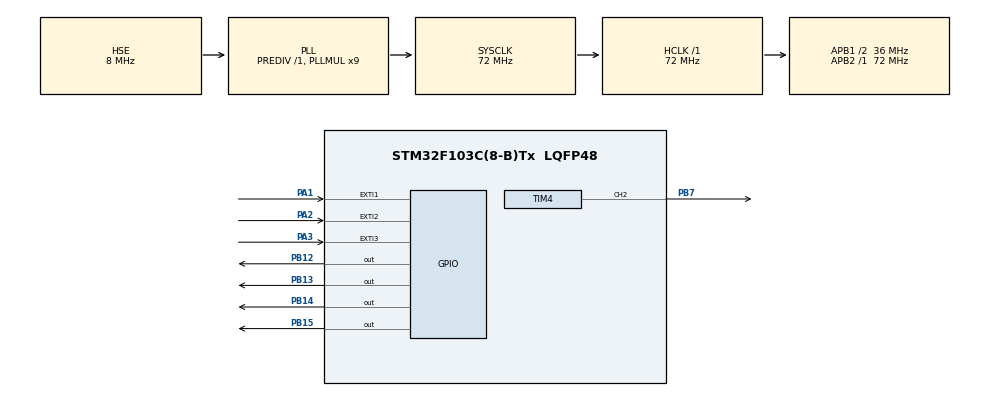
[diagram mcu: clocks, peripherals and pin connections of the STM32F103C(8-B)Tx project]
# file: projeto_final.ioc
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Mcu.Family=STM32F1
Mcu.Name=STM32F103C(8-B)Tx
Mcu.Package=LQFP48
NVIC.EXTI1_IRQn=true\:0\:0\:false\:true\:true\:1\:true\:true
NVIC.EXTI2_IRQn=true\:0\:0\:false\:false\:true\:true\:true
NVIC.EXTI3_IRQn=true\:0\:0\:false\:false\:true\:true\:true
NVIC.PriorityGroup=NVIC_PRIORITYGROUP_4
PA1.GPIO_ModeDefaultEXTI=GPIO_MODE_IT_FALLING
PA1.GPIO_PuPd=GPIO_PULLUP
PA1.Signal=GPXTI1
PA13.Mode=Serial_Wire
PA13.Signal=SYS_JTMS-SWDIO
PA14.Mode=Serial_Wire
PA14.Signal=SYS_JTCK-SWCLK
PA2.GPIO_ModeDefaultEXTI=GPIO_MODE_IT_FALLING
PA2.GPIO_PuPd=GPIO_PULLUP
PA2.Signal=GPXTI2
PA3.GPIO_ModeDefaultEXTI=GPIO_MODE_IT_FALLING
PA3.GPIO_PuPd=GPIO_PULLUP
PA3.Signal=GPXTI3
PB12.Signal=GPIO_Output
PB13.Signal=GPIO_Output
PB14.Signal=GPIO_Output
PB15.Signal=GPIO_Output
PB7.Signal=S_TIM4_CH2
PD0-OSC_IN.Mode=HSE-External-Oscillator
PD0-OSC_IN.Signal=RCC_OSC_IN
PD1-OSC_OUT.Mode=HSE-External-Oscillator
PD1-OSC_OUT.Signal=RCC_OSC_OUT
ProjectManager.HeapSize=0x200
ProjectManager.StackSize=0x400
ProjectManager.TargetToolchain=STM32CubeIDE
RCC.AHBFreq_Value=72000000
RCC.APB1CLKDivider=RCC_HCLK_DIV2
RCC.APB1Freq_Value=36000000
RCC.APB1TimFreq_Value=72000000
RCC.APB2Freq_Value=72000000
RCC.APB2TimFreq_Value=72000000
RCC.HCLKFreq_Value=72000000
RCC.PLLMUL=RCC_PLL_MUL9
RCC.PLLSourceVirtual=RCC_PLLSOURCE_HSE
RCC.SYSCLKFreq_VALUE=72000000
RCC.SYSCLKSource=RCC_SYSCLKSOURCE_PLLCLK
RCC.USBFreq_Value=72000000
SH.S_TIM4_CH2.0=TIM4_CH2,PWM Generation2 CH2
TIM4.Channel-PWM\ Generation2\ CH2=TIM_CHANNEL_2
VP_TIM4_VS_ClockSourceINT.Mode=Internal
board=custom

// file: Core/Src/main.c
/* USER CODE BEGIN Header */
/**
 ******************************************************************************
 * @file           : main.c
 * @brief          : Main program body
 ******************************************************************************
 * @attention
 *
 * <h2><center>&copy; Copyright (c) 2021 STMicroelectronics.
 * All rights reserved.</center></h2>
 *
 * This software component is licensed by ST under BSD 3-Clause license,
 * the "License"; You may not use this file except in compliance with the
 * License. You may obtain a copy of the License at:
 *                        opensource.org/licenses/BSD-3-Clause
 *
 ******************************************************************************
 */
/* USER CODE END Header */
#include "main.h"

/* USER CODE BEGIN PD */

#define PR 80
#define DT_D1 200                      // delay do LED D1
#define DT_D2 300                      // delay do LED D2
#define DT_D3 400                      // delay do LED D3
#define DT_D4 500                      // delay do LED D4
#define DT_ALL 500                      // delay do LED D4
#define PER_PWM 3000                   // tempo do ciclo (ms) do led PB7
#define PWM_ARR 200                    // resolução (num steps) do PWM
/* USER CODE END PD */

TIM_HandleTypeDef htim4;

/* USER CODE BEGIN PV */
volatile uint32_t mn_led1 = 0;
volatile uint32_t mn_led2 = 0;
volatile uint32_t mn_led3 = 0;
volatile uint32_t mn_led4 = 0;
volatile uint32_t mn_dt_PWM;
volatile uint32_t mn_tin_CRON = 0;
volatile uint32_t lpa1 = 0;
volatile uint32_t lpa2 = 0;
volatile uint32_t lpa3 = 0; // variável utilizada para simular efeito de borda causado por botão do Monitor
//volatile uint32_t clear_signal = 0; // variável utilizada para simular efeito de borda causado por botão do Monitor

/* USER CODE END PV */

void SystemClock_Config(void);
static void MX_GPIO_Init(void);
static void MX_TIM4_Init(void);
static void MX_NVIC_Init(void);
/* USER CODE BEGIN PFP */
int get_modo_oper(void);
void set_modo_oper(void);
/* USER CODE END PFP */

int main(void) {

	/* MCU Configuration--------------------------------------------------------*/

	/* Reset of all peripherals, Initializes the Flash interface and the Systick. */
	HAL_Init();

	/* Configure the system clock */
	SystemClock_Config();

	/* Initialize all configured peripherals */
	MX_GPIO_Init();
	MX_TIM4_Init();

	/* Initialize interrupts */
	MX_NVIC_Init();
	/* USER CODE BEGIN 2 */

	// garantir que PC13 começa desligado
	HAL_GPIO_WritePin(GPIOC, GPIO_PIN_13, GPIO_PIN_SET);

	// para iniciar vars de controle para máquinas de estados dos leds
	static enum {
		INI_D1, LIG_D1, DSLG_D1} sttD1 = INI_D1; // var estados de D1
	static enum {
		INI_D2, LIG_D2, DSLG_D2} sttD2 = INI_D2; // var estados de D2
	static enum {
		INI_D3, LIG_D3, DSLG_D3} sttD3 = INI_D3; // var estados de D3
	static enum {
		INI_D4, LIG_D4, DSLG_D4} sttD4 = INI_D4; // var estados de D4
	static enum {
		INI_ALL, LIG_ALL, DSLG_ALL} sttALL = INI_ALL; // var estados dos 4 LEDs piscando juntos
	// maquina de estados das interrupções geradas por software
	static enum {
		INI_PA1, LIG_PA1, DSLG_PA1} sttPA1 = INI_PA1; // var estados de PA1
	static enum {
		INI_PA2, LIG_PA2, DSLG_PA2} sttPA2 = INI_PA2; // var estados de PA2
    static enum {
    	INI_PA3, LIG_PA3, DSLG_PA3} sttPA3=INI_PA3;   // var estados de PA3

	static enum {
		INI_PWM, INC_PWM, DEC_PWM} sttGAUGE = INI_PWM; // var de estados do gauge PWM
	static enum {
		INI_CRON, INC_CRON, PAUSE_CRON} sttCRON = INI_CRON; // var estados do cronometro

	// para controlar vars tempos de entrada na rotina ON/OFF de cada LED
	uint32_t tin_D1 = 0, tin_D2 = 0, tin_D3 = 0, tin_D4 = 0, tin_PWM = 0;
	uint32_t tin_CRON = 0;
	uint32_t dt_PA1 = PR, dt_PA2 = PR,  dt_PA3 = PR; // proximos dt p/ cada PA

	uint32_t tin_PA1 = 0, tin_PA2 = 0, tin_PA3 = 0; // dts das interrupções por software
	mn_tin_CRON = 0;

	int dt_PWM = PER_PWM / (2 * PWM_ARR);   // calc delta tempo p/ PB7

	int modo = get_modo_oper();          // inicia modo como 0
	int start_status = get_cron_start_status();
	int clear_signal = get_cron_clear_status();
	uint16_t dc_PWM = 0;

	// inicializar o PWM do timer 4 ch 2 zerado
	HAL_TIM_PWM_Start(&htim4, TIM_CHANNEL_2); // inicializa PWM no T4C2
	TIM4->CCR2 = dc_PWM;                // inicia comparador PWM c/ 0

	// estrutura de dados para programar pedido de interrupção por software
	EXTI_HandleTypeDef hexti_1 = { };
	hexti_1.Line = EXTI_LINE_1;
	EXTI_HandleTypeDef hexti_2 = { };
	hexti_2.Line = EXTI_LINE_2;
    EXTI_HandleTypeDef hexti_3 = {};
    hexti_3.Line = EXTI_LINE_3;

	/* USER CODE END 2 */

	/* Infinite loop */
	while (1) {

		/* USER CODE BEGIN 3 */
		modo = get_modo_oper();

		if (modo == 0) {
			// Caso pisca independentes:
			// Cada LED piscando com um periodo especifico DT_Di, i={1,2,3,4}

			// controle do estado do LED D1
			switch (sttD1) {
			case INI_D1:                 // vai iniciar a máquina de estado
				tin_D1 = HAL_GetTick();    // tempo inicial que iniciou a tarefa
				sttD1 = LIG_D1;            // prox estado da máquina
				HAL_GPIO_WritePin(GPIOB, GPIO_PIN_15, GPIO_PIN_SET); // desl o LED
				mn_led1 = HAL_GPIO_ReadPin(GPIOB, GPIO_PIN_15);
				break;
			case LIG_D1:                 // estado para ligar o LED
				if ((HAL_GetTick() - tin_D1) > DT_D1) // se HAL_GetTick()-tin_D1 > DT_D1
				{
					tin_D1 = HAL_GetTick(); // guarda tempo p/ prox mudança estado
					sttD1 = DSLG_D1;         // muda o prox estado da máquina
					HAL_GPIO_WritePin(GPIOB, GPIO_PIN_15, GPIO_PIN_RESET); // ligaLED
					mn_led1 = HAL_GPIO_ReadPin(GPIOB, GPIO_PIN_15);
				}
				break;
			case DSLG_D1:                // estado para desligar o LED
				if ((HAL_GetTick() - tin_D1) > DT_D1) // se HAL_GetTick()-tin_D1 > DT_D1
				{
					tin_D1 = HAL_GetTick(); // guarda tempo p/ prox mudança estado
					sttD1 = LIG_D1;          // muda o prox estado da máquina
					HAL_GPIO_WritePin(GPIOB, GPIO_PIN_15, GPIO_PIN_SET); // desl LED			}
					mn_led1 = HAL_GPIO_ReadPin(GPIOB, GPIO_PIN_15);
				}
				break;
			};

			// controle do estado do LED D2
			switch (sttD2) {
			case INI_D2:                 // vai iniciar a máquina de estado
				tin_D2 = HAL_GetTick();    // tempo inicial que iniciou a tarefa
				sttD2 = LIG_D2;            // prox estado da máquina
				HAL_GPIO_WritePin(GPIOB, GPIO_PIN_14, GPIO_PIN_SET); // desl o LED
				mn_led2 = HAL_GPIO_ReadPin(GPIOB, GPIO_PIN_14);
				break;
			case LIG_D2:                 // estado para ligar o LED
				if ((HAL_GetTick() - tin_D2) > DT_D2) // se HAL_GetTick()-tin_D2 > DT_D2
				{
					tin_D2 = HAL_GetTick(); // guarda tempo p/ prox mudança estado
					sttD2 = DSLG_D2;         // muda o prox estado da máquina
					HAL_GPIO_WritePin(GPIOB, GPIO_PIN_14, GPIO_PIN_RESET); // ligaLED
					mn_led2 = HAL_GPIO_ReadPin(GPIOB, GPIO_PIN_14);
				}
				break;
			case DSLG_D2:                // estado para desligar o LED
				if ((HAL_GetTick() - tin_D2) > DT_D2) // se HAL_GetTick()-tin_D2 > DT_D2
				{
					tin_D2 = HAL_GetTick(); // guarda tempo p/ prox mudança estado
					sttD2 = LIG_D2;          // muda o prox estado da máquina
					HAL_GPIO_WritePin(GPIOB, GPIO_PIN_14, GPIO_PIN_SET); // desl LED
					mn_led2 = HAL_GPIO_ReadPin(GPIOB, GPIO_PIN_14);
				}
				break;
			};

			// controle do estado do LED D3
			switch (sttD3) {
			case INI_D3:                 // vai iniciar a máquina de estado
				tin_D3 = HAL_GetTick();    // tempo inicial que iniciou a tarefa
				sttD3 = LIG_D3;            // prox estado da máquina
				HAL_GPIO_WritePin(GPIOB, GPIO_PIN_13, GPIO_PIN_SET); // desl o LED
				mn_led3 = HAL_GPIO_ReadPin(GPIOB, GPIO_PIN_13);
				break;
			case LIG_D3:                 // estado para ligar o LED
				if ((HAL_GetTick() - tin_D3) > DT_D3) // se HAL_GetTick()-tin_D1 > DT_D1
				{
					tin_D3 = HAL_GetTick(); // guarda tempo p/ prox mudança estado
					sttD3 = DSLG_D3;         // muda o prox estado da máquina
					HAL_GPIO_WritePin(GPIOB, GPIO_PIN_13, GPIO_PIN_RESET); // ligaLED
					mn_led3 = HAL_GPIO_ReadPin(GPIOB, GPIO_PIN_13);
				}
				break;
			case DSLG_D3:                // estado para desligar o LED
				if ((HAL_GetTick() - tin_D3) > DT_D3) // se HAL_GetTick()-tin_D1 > DT_D1
				{
					tin_D3 = HAL_GetTick(); // guarda tempo p/ prox mudança estado
					sttD3 = LIG_D3;          // muda o prox estado da máquina
					HAL_GPIO_WritePin(GPIOB, GPIO_PIN_13, GPIO_PIN_SET); // desl LED
					mn_led3 = HAL_GPIO_ReadPin(GPIOB, GPIO_PIN_13);
				}
				break;
			};

			// controle do estado do LED D4
			switch (sttD4) {
			case INI_D4:                 // vai iniciar a máquina de estado
				tin_D4 = HAL_GetTick();    // tempo inicial que iniciou a tarefa
				sttD4 = LIG_D4;            // prox estado da máquina
				HAL_GPIO_WritePin(GPIOB, GPIO_PIN_12, GPIO_PIN_SET); // desl o LED
				mn_led4 = HAL_GPIO_ReadPin(GPIOB, GPIO_PIN_12);
				break;
			case LIG_D4:                 // estado para ligar o LED
				if ((HAL_GetTick() - tin_D4) > DT_D4) // se HAL_GetTick()-tin_D1 > DT_D1
				{
					tin_D4 = HAL_GetTick(); // guarda tempo p/ prox mudança estado
					sttD4 = DSLG_D4;         // muda o prox estado da máquina
					HAL_GPIO_WritePin(GPIOB, GPIO_PIN_12, GPIO_PIN_RESET); // ligaLED
					mn_led4 = HAL_GPIO_ReadPin(GPIOB, GPIO_PIN_12);
				}
				break;
			case DSLG_D4:                // estado para desligar o LED
				if ((HAL_GetTick() - tin_D4) > DT_D4) // se HAL_GetTick()-tin_D1 > DT_D1
				{
					tin_D4 = HAL_GetTick(); // guarda tempo p/ prox mudança estado
					sttD4 = LIG_D4;          // muda o prox estado da máquina
					HAL_GPIO_WritePin(GPIOB, GPIO_PIN_12, GPIO_PIN_SET); // desl LED
					mn_led4 = HAL_GPIO_ReadPin(GPIOB, GPIO_PIN_12);
				}
				break;
			};

		} else {
			// Caso pisca todos juntos:
			// Todos os LEDs piscando em sincronia com período = DT_ALL
			// OBS: Usando o tin_D4 por conveniência apenas, mas poderia ser tin_ALL
			switch (sttALL) {
			case INI_ALL:                 // vai iniciar a máquina de estado
				tin_D4 = HAL_GetTick();    // tempo inicial que iniciou a tarefa
				sttALL = LIG_ALL;            // prox estado da máquina
				HAL_GPIO_WritePin(GPIOB, GPIO_PIN_15, GPIO_PIN_SET); // desl o LED1
				HAL_GPIO_WritePin(GPIOB, GPIO_PIN_14, GPIO_PIN_SET); // desl o LED2
				HAL_GPIO_WritePin(GPIOB, GPIO_PIN_13, GPIO_PIN_SET); // desl o LED3
				HAL_GPIO_WritePin(GPIOB, GPIO_PIN_12, GPIO_PIN_SET); // desl o LED4

				mn_led1 = HAL_GPIO_ReadPin(GPIOB, GPIO_PIN_15); //  le estado LED1
				mn_led2 = HAL_GPIO_ReadPin(GPIOB, GPIO_PIN_15); //  le estado LED2
				mn_led3 = HAL_GPIO_ReadPin(GPIOB, GPIO_PIN_13); //  le estado LED3
				mn_led4 = HAL_GPIO_ReadPin(GPIOB, GPIO_PIN_12); //  le estado LED4
				break;
			case LIG_ALL:                 // estado para ligar os LEDs
				if ((HAL_GetTick() - tin_D4) > DT_ALL) // se HAL_GetTick()-tin_D4 > DT_ALL
				{
					tin_D4 = HAL_GetTick(); // guarda tempo p/ prox mudança estado
					sttALL = DSLG_ALL;         // muda o prox estado da máquina
					HAL_GPIO_WritePin(GPIOB, GPIO_PIN_15, GPIO_PIN_RESET); // lig o LED1
					HAL_GPIO_WritePin(GPIOB, GPIO_PIN_14, GPIO_PIN_RESET); // lig o LED2
					HAL_GPIO_WritePin(GPIOB, GPIO_PIN_13, GPIO_PIN_RESET); // lig o LED3
					HAL_GPIO_WritePin(GPIOB, GPIO_PIN_12, GPIO_PIN_RESET); // lig o LED4

					mn_led1 = HAL_GPIO_ReadPin(GPIOB, GPIO_PIN_15); //  le estado LED1
					mn_led2 = HAL_GPIO_ReadPin(GPIOB, GPIO_PIN_15); //  le estado LED2
					mn_led3 = HAL_GPIO_ReadPin(GPIOB, GPIO_PIN_13); //  le estado LED3
					mn_led4 = HAL_GPIO_ReadPin(GPIOB, GPIO_PIN_12); //  le estado LED4
				}
				break;
			case DSLG_ALL:                // estado para desligar os LEDs
				if ((HAL_GetTick() - tin_D4) > DT_ALL) // se HAL_GetTick()-tin_D4 > DT_ALL
				{
					tin_D4 = HAL_GetTick(); // guarda tempo p/ prox mudança estado
					sttALL = LIG_ALL;          // muda o prox estado da máquina
					HAL_GPIO_WritePin(GPIOB, GPIO_PIN_15, GPIO_PIN_SET); // desl o LED1
					HAL_GPIO_WritePin(GPIOB, GPIO_PIN_14, GPIO_PIN_SET); // desl o LED2
					HAL_GPIO_WritePin(GPIOB, GPIO_PIN_13, GPIO_PIN_SET); // desl o LED3
					HAL_GPIO_WritePin(GPIOB, GPIO_PIN_12, GPIO_PIN_SET); // desl o LED4

					mn_led1 = HAL_GPIO_ReadPin(GPIOB, GPIO_PIN_15); //  le estado LED1
					mn_led2 = HAL_GPIO_ReadPin(GPIOB, GPIO_PIN_15); //  le estado LED2
					mn_led3 = HAL_GPIO_ReadPin(GPIOB, GPIO_PIN_13); //  le estado LED3
					mn_led4 = HAL_GPIO_ReadPin(GPIOB, GPIO_PIN_12); //  le estado LED4
				}
				break;
			};

		}

// 		Interrupção gerada por software: lpa1

		switch (sttPA1) {
		case INI_PA1:                    // vai iniciar a máquina de estado
			sttPA1 = LIG_PA1;              // prox estado da máquina
			break;
		case LIG_PA1:                    // estado p/ gerar INT_EXT_1
			if ((HAL_GetTick() - tin_PA1) > dt_PA1) // se HAL_GetTick()-tin_PA1 > dt_PA1
			{
				tin_PA1 = HAL_GetTick();  // guarda tempo p/ prox mudança estado
				if (lpa1 == 1) {
					sttPA1 = DSLG_PA1;          // muda o prox estado da máquina
					HAL_EXTI_ClearPending(&hexti_1, EXTI_TRIGGER_FALLING);
					HAL_EXTI_GenerateSWI(&hexti_1); // pedido de int por software
					HAL_GPIO_WritePin(GPIOC, GPIO_PIN_15, GPIO_PIN_RESET); // ligar led
					lpa1 = 0;                    // volta lpa1 para desativada
				}
			}
			break;
		case DSLG_PA1:                   // estado para desligar o LED
			if ((HAL_GetTick() - tin_PA1) > dt_PA1) // se HAL_GetTick()-tin_PA1 > dt_PA1
					{
				tin_PA1 = HAL_GetTick();  // guarda tempo p/ prox mudança estado
				HAL_GPIO_WritePin(GPIOC, GPIO_PIN_15, GPIO_PIN_SET); // ligar led
				sttPA1 = LIG_PA1;            // muda o prox estado da máquina
			}
			break;
		};

// 		Interrupçao gerada por software :lpa2
		switch (sttPA2) {
		case INI_PA2:                    // vai iniciar a máquina de estado
			sttPA2 = LIG_PA2;              // prox estado da máquina
			break;
		case LIG_PA2:                    // estado p/ gerar INT_EXT_1
			if ((HAL_GetTick() - tin_PA2) > dt_PA2) // atraso para resposta do sinal
					{
				tin_PA2 = HAL_GetTick(); // incrementa contador de atraso de resposta
				if (lpa2 == 1) {
					sttPA2 = DSLG_PA2;          // muda o prox estado da máquina
					HAL_EXTI_ClearPending(&hexti_2, EXTI_TRIGGER_FALLING);
					HAL_EXTI_GenerateSWI(&hexti_2); // pedido de int por software
					HAL_GPIO_WritePin(GPIOC, GPIO_PIN_14, GPIO_PIN_RESET); // ligar led
					lpa2 = 0;                    // volta lpa2 para desativada
				}
			}
			break;
		case DSLG_PA2:                   // estado para desligar o LED
			if ((HAL_GetTick() - tin_PA2) > dt_PA2) // se HAL_GetTick()-tin_PA1 > dt_PA1
			{
				tin_PA2 = HAL_GetTick();  // guarda tempo p/ prox mudança estado
				HAL_GPIO_WritePin(GPIOC, GPIO_PIN_14, GPIO_PIN_SET); // ligar led
				sttPA2 = LIG_PA2;            // muda o prox estado da máquina
			}
			break;
		};

		// 		Interrupçao gerada por software :lpa3
				switch (sttPA3) {
				case INI_PA3:                    // vai iniciar a máquina de estado
					sttPA3 = LIG_PA3;              // prox estado da máquina
					break;
				case LIG_PA3:                    // estado p/ gerar INT_EXT_3
					if ((HAL_GetTick() - tin_PA3) > dt_PA3) // atraso para resposta do sinal
							{
						tin_PA3 = HAL_GetTick(); // incrementa contador de atraso de resposta
						if (lpa3 == 1) {
							sttPA3 = DSLG_PA3;          // muda o prox estado da máquina
							HAL_EXTI_ClearPending(&hexti_3, EXTI_TRIGGER_FALLING);
							HAL_EXTI_GenerateSWI(&hexti_3); // pedido de int por software
							HAL_GPIO_WritePin(GPIOC, GPIO_PIN_15, GPIO_PIN_RESET); // ligar led
							lpa3 = 0;                    // volta lpa2 para desativada
						}
					}
					break;
				case DSLG_PA3:                   // estado para desligar o LED
					if ((HAL_GetTick() - tin_PA3) > dt_PA3) // se HAL_GetTick()-tin_PA1 > dt_PA3
					{
						tin_PA3 = HAL_GetTick();  // guarda tempo p/ prox mudança estado
						HAL_GPIO_WritePin(GPIOC, GPIO_PIN_15, GPIO_PIN_SET); // ligar led
						sttPA3 = LIG_PA3;            // muda o prox estado da máquina
					}
					break;
				};

		// CONTROLE DO CRONOMETRO
		// Maquina de estados do cronometro -
		// Estado INI : Zera o cronometro e mantém o track do GetTick
		// Estado INC : Incrementa "diferenciais" de tempo no cronometro (em ms)
		// Estado PAUSE: Mantem o track do GetTick, mas para de incrementar
		switch (sttCRON) {
		case INI_CRON:					// estado que vai limpar o cronometro
			mn_tin_CRON = 0;
			tin_CRON = HAL_GetTick();    // tempo em que iniciou a tarefa
			break;
		case INC_CRON:            // estado para incrementar tempo do cronometro
			// Calcula o diferencial de tempo da ultima entrada e incrementa no cronometro
			mn_tin_CRON = mn_tin_CRON + (HAL_GetTick() - tin_CRON); // Vai somando infinitamente em (ms)
			tin_CRON = HAL_GetTick();    // tempo em que iniciou a tarefa
			break;
		case PAUSE_CRON:
			tin_CRON = HAL_GetTick();    // Manter track do HAL_GetTick
			break;
		};

		// Definição dos estados da Maq Cronometro
		clear_signal = get_cron_clear_status();
		start_status = get_cron_start_status();
		if (start_status == 0) {
			if (clear_signal == 1) {
				sttCRON = INI_CRON; // Volta para o INI_CRON, que limpa o contador do cronometro
//				clear_signal = 0;
				reset_cron_clear_status();
			} else {
				sttCRON = PAUSE_CRON;
			}
		} else {
			sttCRON = INC_CRON;
		}

		//
		// Máquina de Estados para Controle do Gauge de PWM
		switch (sttGAUGE) {
		case INI_PWM:                 // vai iniciar a máquina de estado
			tin_PWM = HAL_GetTick();    // tempo em que iniciou a tarefa
			sttGAUGE = INC_PWM;            // prox estado da máquina
			TIM4->CCR2 = 0;            // inicia val dc_PWM= 0
			mn_dt_PWM = dc_PWM;
			break;
		case INC_PWM:                 // estado para incrementar PWM
			if ((HAL_GetTick() - tin_PWM) > dt_PWM) // se o milis-tin_PWM > dt_PWM
			{
				tin_PWM = HAL_GetTick();  // tempo p/ prox mudança dc_PWM
				++dc_PWM;                // incrementa dc_PWM
				if (dc_PWM >= PWM_ARR)
					sttGAUGE = DEC_PWM;  // muda maq est p/ DEC_PWM
				TIM4->CCR2 = dc_PWM;      // set comparador com valor dc_PWM
				mn_dt_PWM = dc_PWM;
			}
			break;
		case DEC_PWM:                 // estado para decrementar o PWM
			if ((HAL_GetTick() - tin_PWM) > dt_PWM) // se o milis-tin_PWM > dt_PWM
			{
				tin_PWM = HAL_GetTick();  // tempo p/ prox mudança dc_PWM
				--dc_PWM;                // decrementa dc_PWM
				if (dc_PWM <= 0)
					sttGAUGE = INC_PWM;  // muda maq est p/ INC_PWM
				TIM4->CCR2 = dc_PWM;      // set comparador com valor dc_PWM
				mn_dt_PWM = dc_PWM;
			}
			break;
		};
	} // EndWhile
	/* USER CODE END 3 */
}

void SystemClock_Config(void) {
	RCC_OscInitTypeDef RCC_OscInitStruct = { 0 };
	RCC_ClkInitTypeDef RCC_ClkInitStruct = { 0 };

	/** Initializes the RCC Oscillators according to the specified parameters
	 * in the RCC_OscInitTypeDef structure.
	 */
	RCC_OscInitStruct.OscillatorType = RCC_OSCILLATORTYPE_HSE;
	RCC_OscInitStruct.HSEState = RCC_HSE_ON;
	RCC_OscInitStruct.HSEPredivValue = RCC_HSE_PREDIV_DIV1;
	RCC_OscInitStruct.HSIState = RCC_HSI_ON;
	RCC_OscInitStruct.PLL.PLLState = RCC_PLL_ON;
	RCC_OscInitStruct.PLL.PLLSource = RCC_PLLSOURCE_HSE;
	RCC_OscInitStruct.PLL.PLLMUL = RCC_PLL_MUL9;
	if (HAL_RCC_OscConfig(&RCC_OscInitStruct) != HAL_OK) {
		Error_Handler();
	}
	/** Initializes the CPU, AHB and APB buses clocks
	 */
	RCC_ClkInitStruct.ClockType = RCC_CLOCKTYPE_HCLK | RCC_CLOCKTYPE_SYSCLK
			| RCC_CLOCKTYPE_PCLK1 | RCC_CLOCKTYPE_PCLK2;
	RCC_ClkInitStruct.SYSCLKSource = RCC_SYSCLKSOURCE_PLLCLK;
	RCC_ClkInitStruct.AHBCLKDivider = RCC_SYSCLK_DIV1;
	RCC_ClkInitStruct.APB1CLKDivider = RCC_HCLK_DIV2;
	RCC_ClkInitStruct.APB2CLKDivider = RCC_HCLK_DIV1;

	if (HAL_RCC_ClockConfig(&RCC_ClkInitStruct, FLASH_LATENCY_2) != HAL_OK) {
		Error_Handler();
	}
}

/**
 * @brief NVIC Configuration.
 * @retval None
 */
static void MX_NVIC_Init(void) {
	/* EXTI1_IRQn interrupt configuration */
	HAL_NVIC_SetPriority(EXTI1_IRQn, 0, 0);
	HAL_NVIC_EnableIRQ(EXTI1_IRQn);
}

static void MX_TIM4_Init(void) {

	TIM_ClockConfigTypeDef sClockSourceConfig = { 0 };
	TIM_MasterConfigTypeDef sMasterConfig = { 0 };
	TIM_OC_InitTypeDef sConfigOC = { 0 };

	htim4.Instance = TIM4;
	htim4.Init.Prescaler = 0;
	htim4.Init.CounterMode = TIM_COUNTERMODE_UP;
	htim4.Init.Period = 65535;
	htim4.Init.ClockDivision = TIM_CLOCKDIVISION_DIV1;
	htim4.Init.AutoReloadPreload = TIM_AUTORELOAD_PRELOAD_DISABLE;
	if (HAL_TIM_Base_Init(&htim4) != HAL_OK) {
		Error_Handler();
	}
	sClockSourceConfig.ClockSource = TIM_CLOCKSOURCE_INTERNAL;
	if (HAL_TIM_ConfigClockSource(&htim4, &sClockSourceConfig) != HAL_OK) {
		Error_Handler();
	}
	if (HAL_TIM_PWM_Init(&htim4) != HAL_OK) {
		Error_Handler();
	}
	sMasterConfig.MasterOutputTrigger = TIM_TRGO_RESET;
	sMasterConfig.MasterSlaveMode = TIM_MASTERSLAVEMODE_DISABLE;
	if (HAL_TIMEx_MasterConfigSynchronization(&htim4, &sMasterConfig)
			!= HAL_OK) {
		Error_Handler();
	}
	sConfigOC.OCMode = TIM_OCMODE_PWM1;
	sConfigOC.Pulse = 0;
	sConfigOC.OCPolarity = TIM_OCPOLARITY_HIGH;
	sConfigOC.OCFastMode = TIM_OCFAST_DISABLE;
	if (HAL_TIM_PWM_ConfigChannel(&htim4, &sConfigOC, TIM_CHANNEL_2)
			!= HAL_OK) {
		Error_Handler();
	}
	HAL_TIM_MspPostInit(&htim4);

}

static void MX_GPIO_Init(void) {
	GPIO_InitTypeDef GPIO_InitStruct = { 0 };

	/* GPIO Ports Clock Enable */
	__HAL_RCC_GPIOD_CLK_ENABLE();
	__HAL_RCC_GPIOA_CLK_ENABLE();
	__HAL_RCC_GPIOB_CLK_ENABLE();

	/*Configure GPIO pin Output Level */
	HAL_GPIO_WritePin(GPIOB,
			GPIO_PIN_12 | GPIO_PIN_13 | GPIO_PIN_14 | GPIO_PIN_15,
			GPIO_PIN_RESET);

	/*Configure GPIO pins : PA1 PA2 PA3 */
	GPIO_InitStruct.Pin = GPIO_PIN_1 | GPIO_PIN_2 | GPIO_PIN_3;
	GPIO_InitStruct.Mode = GPIO_MODE_IT_FALLING;
	GPIO_InitStruct.Pull = GPIO_PULLUP;
	HAL_GPIO_Init(GPIOA, &GPIO_InitStruct);

	/*Configure GPIO pins : PB12 PB13 PB14 PB15 */
	GPIO_InitStruct.Pin = GPIO_PIN_12 | GPIO_PIN_13 | GPIO_PIN_14 | GPIO_PIN_15;
	GPIO_InitStruct.Mode = GPIO_MODE_OUTPUT_PP;
	GPIO_InitStruct.Pull = GPIO_NOPULL;
	GPIO_InitStruct.Speed = GPIO_SPEED_FREQ_LOW;
	HAL_GPIO_Init(GPIOB, &GPIO_InitStruct);

	/* EXTI interrupt init*/
	HAL_NVIC_SetPriority(EXTI2_IRQn, 0, 0);
	HAL_NVIC_EnableIRQ(EXTI2_IRQn);

	HAL_NVIC_SetPriority(EXTI3_IRQn, 0, 0);
	HAL_NVIC_EnableIRQ(EXTI3_IRQn);

}

void Error_Handler(void) {
	__disable_irq();
	while (1) {
	}
}

/************************ (C) COPYRIGHT STMicroelectronics *****END OF FILE****/
